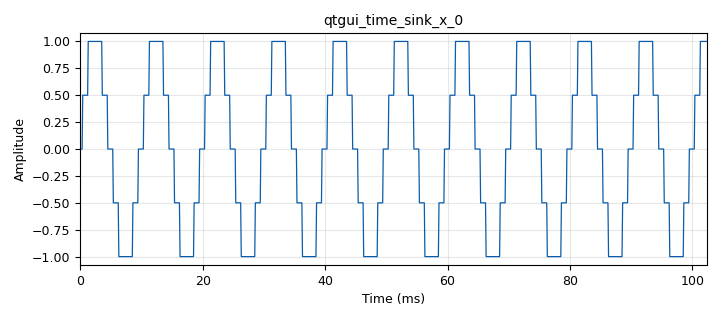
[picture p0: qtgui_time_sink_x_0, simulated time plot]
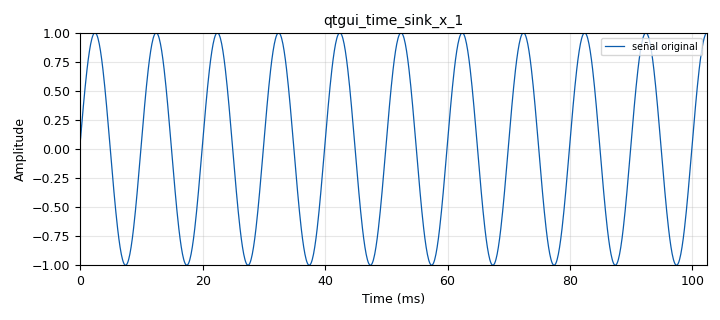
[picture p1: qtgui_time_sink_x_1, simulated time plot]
options:
  parameters:
    author: Maxbarr007
    generate_options: qt_gui
    id: ej9b
    output_language: python
    title: Not titled yet
  states: {}

blocks:
- name: samp_rate
  id: variable
  parameters:
    value: '10000'
  states: {}
- name: analog_sig_source_x_0
  id: analog_sig_source_x
  parameters:
    amp: '1'
    freq: '100'
    offset: '0'
    phase: '0'
    samp_rate: samp_rate
    type: float
    waveform: analog.GR_COS_WAVE
  states: {}
- name: blocks_throttle2_0
  id: blocks_throttle2
  parameters:
    samples_per_second: samp_rate
    type: float
  states: {}
- name: channels_quantizer_0
  id: channels_quantizer
  parameters:
    bits: '2'
  states: {}
- name: qtgui_time_sink_x_0
  id: qtgui_time_sink_x
  parameters:
    color1: green
    ctrlpanel: 'True'
    size: '1024'
    srate: samp_rate
    type: float
  states: {}
- name: qtgui_time_sink_x_1
  id: qtgui_time_sink_x
  parameters:
    ctrlpanel: 'True'
    label1: señal original
    size: '1024'
    srate: samp_rate
    type: float
  states: {}

connections:
- [analog_sig_source_x_0, '0', blocks_throttle2_0, '0']
- [blocks_throttle2_0, '0', channels_quantizer_0, '0']
- [blocks_throttle2_0, '0', qtgui_time_sink_x_1, '0']
- [channels_quantizer_0, '0', qtgui_time_sink_x_0, '0']

metadata:
  file_format: 1
  grc_version: 3.10.12.0
